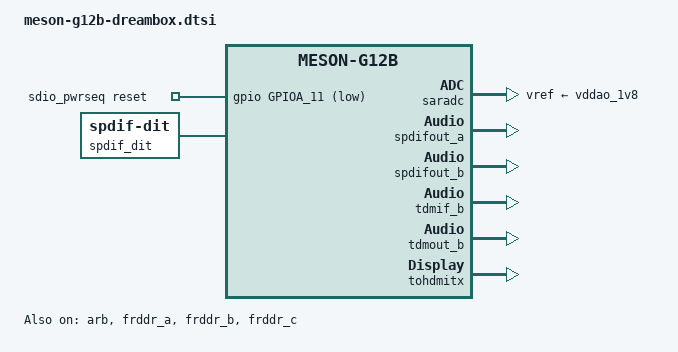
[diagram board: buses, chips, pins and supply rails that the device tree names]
// SPDX-License-Identifier: (GPL-2.0+ OR MIT)
/*
 * Copyright (c) 2021 Christian Hewitt <christianshewitt@gmail.com>
 */

#include "meson-g12b-w400.dtsi"
#include <dt-bindings/gpio/gpio.h>
#include <dt-bindings/leds/common.h>
#include <dt-bindings/sound/meson-g12a-tohdmitx.h>

/ {
	cvbs-connector {
		status = "disabled";
	};

	sdio_pwrseq: sdio-pwrseq {
		compatible = "mmc-pwrseq-simple";
		reset-gpios = <&gpio GPIOA_11 GPIO_ACTIVE_LOW>;
		clocks = <&wifi32k>;
		clock-names = "ext_clock";
	};

	spdif_dit: audio-codec-1 {
		#sound-dai-cells = <0>;
		compatible = "linux,spdif-dit";
		status = "okay";
		sound-name-prefix = "DIT";
	};

	sound {
		compatible = "amlogic,axg-sound-card";
		model = "DREAMBOX";
		audio-aux-devs = <&tdmout_b>;
		audio-routing = "TDMOUT_B IN 0", "FRDDR_A OUT 1",
				"TDMOUT_B IN 1", "FRDDR_B OUT 1",
				"TDMOUT_B IN 2", "FRDDR_C OUT 1",
				"TDM_B Playback", "TDMOUT_B OUT",
				"SPDIFOUT_A IN 0", "FRDDR_A OUT 3",
				"SPDIFOUT_A IN 1", "FRDDR_B OUT 3",
				"SPDIFOUT_A IN 2", "FRDDR_C OUT 3";

		clocks = <&clkc CLKID_MPLL2>,
			 <&clkc CLKID_MPLL0>,
			 <&clkc CLKID_MPLL1>;


		assigned-clocks = <&clkc CLKID_MPLL2>,
				  <&clkc CLKID_MPLL0>,
				  <&clkc CLKID_MPLL1>;
		assigned-clock-parents = <0>, <0>, <0>;
		assigned-clock-rates = <294912000>,
				       <270950400>,
				       <393216000>;

		dai-link-0 {
			sound-dai = <&frddr_a>;
		};

		dai-link-1 {
			sound-dai = <&frddr_b>;
		};

		dai-link-2 {
			sound-dai = <&frddr_c>;
		};

		/* 8ch hdmi interface */
		dai-link-3 {
			sound-dai = <&tdmif_b>;
			dai-format = "i2s";
			dai-tdm-slot-tx-mask-0 = <1 1>;
			dai-tdm-slot-tx-mask-1 = <1 1>;
			dai-tdm-slot-tx-mask-2 = <1 1>;
			dai-tdm-slot-tx-mask-3 = <1 1>;
			mclk-fs = <256>;

			codec {
				sound-dai = <&tohdmitx TOHDMITX_I2S_IN_B>;
			};
		};

		/* spdif hdmi or toslink interface */
		dai-link-4 {
			sound-dai = <&spdifout_a>;

			codec-0 {
				sound-dai = <&spdif_dit>;
			};

			codec-1 {
				sound-dai = <&tohdmitx TOHDMITX_SPDIF_IN_A>;
			};
		};

		/* spdif hdmi interface */
		dai-link-5 {
			sound-dai = <&spdifout_b>;

			codec {
				sound-dai = <&tohdmitx TOHDMITX_SPDIF_IN_B>;
			};
		};

		/* hdmi glue */
		dai-link-6 {
			sound-dai = <&tohdmitx TOHDMITX_I2S_OUT>;

			codec {
				sound-dai = <&hdmi_tx>;
			};
		};
	};
};

&arb {
	status = "okay";
};

&clkc_audio {
	status = "okay";
};

&frddr_a {
	status = "okay";
};

&frddr_b {
	status = "okay";
};

&frddr_c {
	status = "okay";
};

&ir {
	linux,rc-map-name = "rc-dreambox";
};

&saradc {
	status = "okay";
	vref-supply = <&vddao_1v8>;
};

&spdifout_a {
	pinctrl-0 = <&spdif_out_h_pins>;
	pinctrl-names = "default";
	status = "okay";
};

&spdifout_b {
	status = "okay";
};

&tdmif_b {
	status = "okay";
};

&tdmout_b {
	status = "okay";
};

&tohdmitx {
	status = "okay";
};
